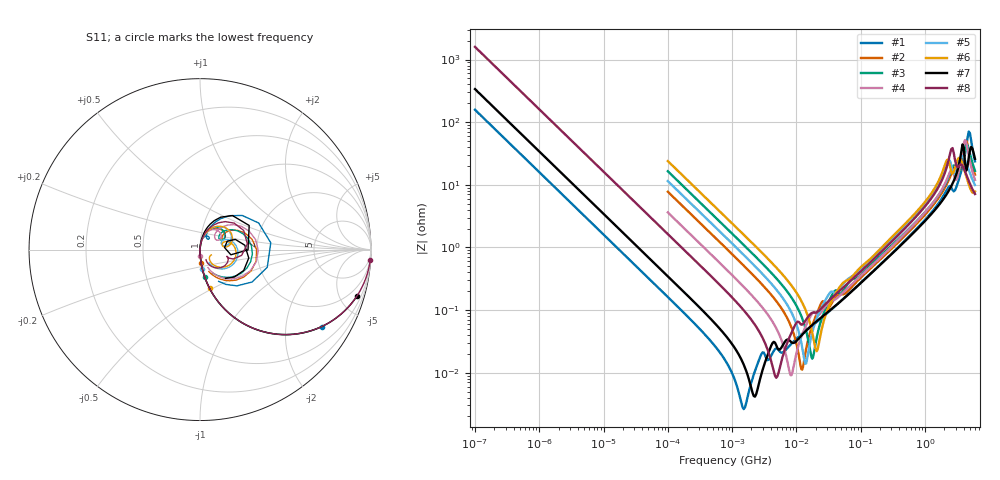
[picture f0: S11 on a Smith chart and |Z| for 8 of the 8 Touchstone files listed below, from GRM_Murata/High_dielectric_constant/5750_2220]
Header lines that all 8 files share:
!These Parameters are Measured in Series Mode Connection
!Data Generated on Mar 30, 2021
!  o--ll--o
!Port1  Port2
!  o------o
!Operation Temp=25[degC], DC Bias Voltage=0[V]
# Hz S RI R 50
!Freq.(Hz) S11(Real) S11(Imag) S21(Real) S21(Imag) S12(Real) S12(Imag) S22(Real) S22(Imag)
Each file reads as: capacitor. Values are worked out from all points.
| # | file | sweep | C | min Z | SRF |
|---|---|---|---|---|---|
| 1 | GRM55DB31H106KA87.s2p | 100 Hz to 6 GHz | 10.1 uF | 2.62 mohm | 1.539 MHz |
| 2 | GRM55DR7LW224KW01.s2p | 100 kHz to 6 GHz | 205 nF | 11.2 mohm | 12.24 MHz |
| 3 | GRM55DR7LX104KW01.s2p | 100 kHz to 6 GHz | 96.7 nF | 16.7 mohm | 17.7 MHz |
| 4 | GRM55DR72E474KW01.s2p | 100 kHz to 6 GHz | 439 nF | 9.1 mohm | 8.293 MHz |
| 5 | GRM55DR72J154KW01.s2p | 100 kHz to 6 GHz | 139 nF | 13.9 mohm | 13.95 MHz |
| 6 | GRM55DR73A683KW01.s2p | 100 kHz to 6 GHz | 66.5 nF | 22.1 mohm | 20.68 MHz |
| 7 | GRM55EB11H475KA01.s2p | 100 Hz to 6 GHz | 4.71 uF | 4.14 mohm | 4.008 GHz |
| 8 | GRM55RB11H105KA01.s2p | 100 Hz to 6 GHz | 999 nF | 8.29 mohm | 4.917 MHz |
